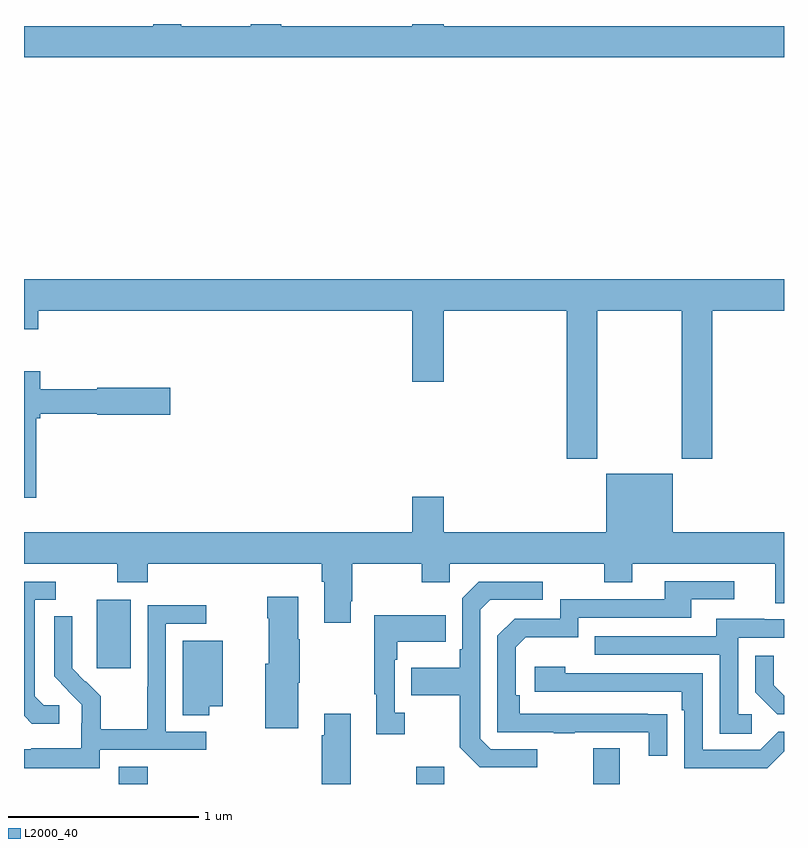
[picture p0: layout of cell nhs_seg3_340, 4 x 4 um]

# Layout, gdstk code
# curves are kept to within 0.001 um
import gdstk
lib = gdstk.Library(unit=1e-6, precision=1e-09)
def R(c, l, rs):  # rectangles x0, y0, x1, y1
    for r in rs: c.add(gdstk.rectangle(r[:2], r[2:], *l))
def P(c, l, *ps):  # polygons
    for p in ps: c.add(gdstk.Polygon(p, *l))
L2000_40 = (2000, 40)

nhs_seg3_340 = lib.new_cell('nhs_seg3_340')
R(nhs_seg3_340, L2000_40, [(127.499,722.4,127.652,722.491), (129.064,722.4,129.211,722.491), (129.995,722.4,130.135,722.587), (127.382,723.009,127.561,723.37)])
P(nhs_seg3_340, L2000_40, [(127.68,726.4),(127.68,726.388),(127,726.388),(127,726.224),(131,726.224),(131,726.388),(129.208,726.388),(129.208,726.4),(129.044,726.4),(129.044,726.388),(128.354,726.388),(128.354,726.4),(128.194,726.4),(128.194,726.388),(127.827,726.388),(127.827,726.4)],
  [(130.017,724.892),(130.462,724.892),(130.462,724.113),(130.622,724.113),(130.622,724.892),(131,724.892),(131,725.056),(127,725.056),(127,724.793),(127.076,724.793),(127.076,724.892),(129.044,724.892),(129.044,724.518),(129.208,724.518),(129.208,724.892),(129.857,724.892),(129.857,724.113),(130.017,724.113)],
  [(127.064,724.325),(127.086,724.325),(127.086,724.348),(127.386,724.348),(127.386,724.343),(127.771,724.343),(127.771,724.485),(127.386,724.485),(127.386,724.477),(127.086,724.477),(127.086,724.572),(127,724.572),(127,723.906),(127.064,723.906)],
  [(128.719,723.361),(128.727,723.361),(128.727,723.56),(129.094,723.56),(129.094,723.461),(129.24,723.461),(129.24,723.56),(130.054,723.56),(130.054,723.461),(130.201,723.461),(130.201,723.56),(130.955,723.56),(130.955,723.352),(131,723.352),(131,723.724),(130.414,723.724),(130.414,724.033),(130.064,724.033),(130.064,723.724),(129.208,723.724),(129.208,723.913),(129.044,723.913),(129.044,723.724),(127,723.724),(127,723.56),(127.492,723.56),(127.492,723.461),(127.652,723.461),(127.652,723.56),(128.567,723.56),(128.567,723.464),(128.579,723.464),(128.579,723.249),(128.719,723.249)],
  [(130.385,722.768),(129.608,722.769),(129.608,722.866),(129.588,722.866),(129.588,723.12),(129.641,723.173),(129.918,723.173),(129.918,723.276),(130.513,723.276),(130.513,723.372),(130.738,723.372),(130.738,723.468),(130.373,723.468),(130.373,723.372),(129.822,723.372),(129.822,723.27),(129.582,723.27),(129.492,723.18),(129.492,722.673),(129.787,722.673),(129.787,722.668),(129.899,722.668),(129.899,722.673),(130.289,722.673),(130.289,722.55),(130.385,722.55)],
  [(127.186,722.814),(127.104,722.814),(127.057,722.861),(127.057,723.369),(127.168,723.369),(127.168,723.465),(127,723.465),(127,722.759),(127.042,722.717),(127.186,722.717)],
  [(129.7,722.583),(129.456,722.583),(129.402,722.637),(129.402,723.318),(129.453,723.369),(129.73,723.369),(129.73,723.465),(129.393,723.465),(129.306,723.378),(129.306,723.109),(129.294,723.109),(129.294,723.013),(129.037,723.013),(129.037,722.866),(129.294,722.866),(129.294,722.593),(129.399,722.487),(129.7,722.487)],
  [(128.443,722.933),(128.451,722.933),(128.451,723.161),(128.443,723.161),(128.443,723.385),(128.281,723.385),(128.281,723.272),(128.288,723.272),(128.288,723.033),(128.27,723.033),(128.27,722.693),(128.443,722.693)],
  [(127.398,722.58),(127.96,722.58),(127.96,722.676),(127.746,722.676),(127.746,723.243),(127.96,723.243),(127.96,723.342),(127.65,723.342),(127.65,722.912),(127.648,722.912),(127.648,722.689),(127.403,722.689),(127.403,722.863),(127.326,722.94),(127.323,722.937),(127.253,723.008),(127.254,723.284),(127.158,723.284),(127.158,722.966),(127.304,722.818),(127.304,722.721),(127.302,722.721),(127.302,722.587),(127.039,722.587),(127.039,722.583),(127,722.583),(127,722.483),(127.398,722.483)],
  [(129.004,722.774),(128.952,722.774),(128.952,723.053),(128.965,723.053),(128.965,723.149),(129.221,723.149),(129.221,723.289),(128.844,723.289),(128.844,722.873),(128.855,722.873),(128.855,722.661),(129.004,722.661)],
  [(130.831,722.766),(130.758,722.766),(130.758,723.171),(131,723.171),(131,723.267),(130.897,723.267),(130.897,723.271),(130.643,723.271),(130.643,723.177),(130.003,723.177),(130.003,723.081),(130.662,723.081),(130.662,722.665),(130.831,722.665)],
  [(127.974,722.81),(128.047,722.81),(128.047,723.154),(127.835,723.154),(127.835,722.761),(127.974,722.761)],
  [(131,722.864),(130.945,722.919),(130.945,723.076),(130.848,723.076),(130.848,722.882),(130.964,722.766),(131,722.766)],
  [(131,722.573),(131,722.676),(130.971,722.676),(130.875,722.58),(130.572,722.58),(130.572,722.982),(129.848,722.982),(129.848,723.016),(129.687,723.016),(129.687,722.886),(130.463,722.886),(130.463,722.789),(130.476,722.789),(130.476,722.484),(130.911,722.484)],
  [(128.719,722.77),(128.579,722.77),(128.579,722.657),(128.567,722.657),(128.567,722.4),(128.719,722.4)])

lib.write_gds('nhs_seg3_340.gds')
